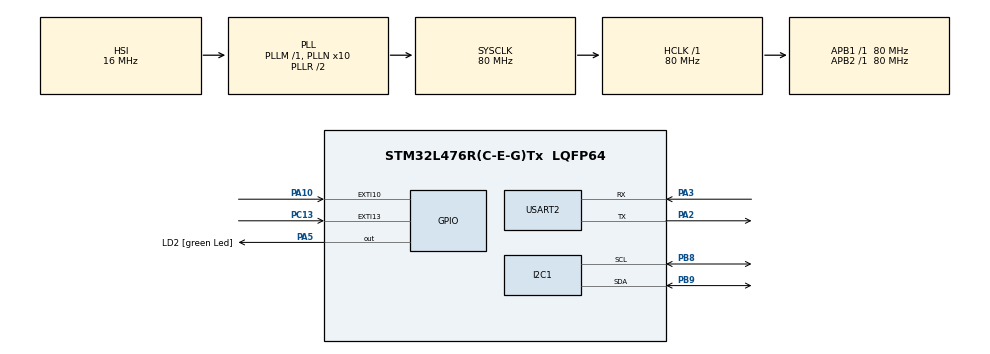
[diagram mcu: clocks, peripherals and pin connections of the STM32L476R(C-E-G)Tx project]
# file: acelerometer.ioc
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I2C1.Timing=0x10909CEC
Mcu.Family=STM32L4
Mcu.Name=STM32L476R(C-E-G)Tx
Mcu.Package=LQFP64
NVIC.EXTI15_10_IRQn=true\:0\:0\:false\:false\:true\:true\:true\:true
NVIC.PriorityGroup=NVIC_PRIORITYGROUP_4
PA10.Signal=GPXTI10
PA13\ (JTMS-SWDIO).GPIO_Label=TMS
PA13\ (JTMS-SWDIO).Mode=Trace_Asynchronous_SW
PA13\ (JTMS-SWDIO).Signal=SYS_JTMS-SWDIO
PA14\ (JTCK-SWCLK).GPIO_Label=TCK
PA14\ (JTCK-SWCLK).Mode=Trace_Asynchronous_SW
PA14\ (JTCK-SWCLK).Signal=SYS_JTCK-SWCLK
PA2.Mode=Asynchronous
PA2.Signal=USART2_TX
PA3.Mode=Asynchronous
PA3.Signal=USART2_RX
PA5.GPIO_Label=LD2 [green Led]
PA5.GPIO_ModeDefaultOutputPP=GPIO_MODE_OUTPUT_PP
PA5.GPIO_PuPd=GPIO_NOPULL
PA5.GPIO_Speed=GPIO_SPEED_FREQ_LOW
PA5.Signal=GPIO_Output
PB3\ (JTDO-TRACESWO).GPIO_Label=SWO
PB3\ (JTDO-TRACESWO).Mode=Trace_Asynchronous_SW
PB3\ (JTDO-TRACESWO).Signal=SYS_JTDO-SWO
PB8.Mode=I2C
PB8.Signal=I2C1_SCL
PB9.Mode=I2C
PB9.Signal=I2C1_SDA
PC13.Signal=GPXTI13
PC14-OSC32_IN\ (PC14).Signal=RCC_OSC32_IN
PC15-OSC32_OUT\ (PC15).Signal=RCC_OSC32_OUT
PH0-OSC_IN\ (PH0).Mode=HSE-External-Oscillator
PH0-OSC_IN\ (PH0).Signal=RCC_OSC_IN
PH1-OSC_OUT\ (PH1).Mode=HSE-External-Oscillator
PH1-OSC_OUT\ (PH1).Signal=RCC_OSC_OUT
ProjectManager.HeapSize=0x200
ProjectManager.StackSize=0x400
ProjectManager.TargetToolchain=STM32CubeIDE
RCC.ADCFreq_Value=64000000
RCC.AHBFreq_Value=80000000
RCC.APB1Freq_Value=80000000
RCC.APB1TimFreq_Value=80000000
RCC.APB2Freq_Value=80000000
RCC.APB2TimFreq_Value=80000000
RCC.CortexFreq_Value=80000000
RCC.HCLKFreq_Value=80000000
RCC.HSE_VALUE=8000000
RCC.HSI_VALUE=16000000
RCC.LSE_VALUE=32768
RCC.MSI_VALUE=4000000
RCC.PLLN=10
RCC.PLLSourceVirtual=RCC_PLLSOURCE_HSI
RCC.PREFETCH_ENABLE=1
RCC.SYSCLKFreq_VALUE=80000000
RCC.SYSCLKSource=RCC_SYSCLKSOURCE_PLLCLK
RCC.USBFreq_Value=64000000
RCC.VCOOutputFreq_Value=160000000
USART2.VirtualMode-Asynchronous=VM_ASYNC
board=NUCLEO-L476RG

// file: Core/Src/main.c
/* USER CODE BEGIN Header */
/**
  ******************************************************************************
  * @file           : main.c
  * @brief          : Main program body
  ******************************************************************************
  * @attention
  *
  * Copyright (c) 2023 STMicroelectronics.
  * All rights reserved.
  *
  * This software is licensed under terms that can be found in the LICENSE file
  * in the root directory of this software component.
  * If no LICENSE file comes with this software, it is provided AS-IS.
  *
  ******************************************************************************
  */
/* USER CODE END Header */
#include "main.h"

/* USER CODE BEGIN Includes */
#include "MMA_8451.h"
#include <string.h>
#include <stdio.h>

/* USER CODE END Includes */

I2C_HandleTypeDef hi2c1;

UART_HandleTypeDef huart2;

void SystemClock_Config(void);
static void MX_GPIO_Init(void);
static void MX_I2C1_Init(void);
static void MX_USART2_UART_Init(void);

/* USER CODE BEGIN 0 */

void HAL_GPIO_EXTI_CALLBACK(uint16_t Gpio_Pin){
	if(Gpio_Pin == GPIO_PIN_13){
	    char msg[24];
	    sprintf(msg, "DATA READY\n\r");
	    HAL_UART_Transmit(&huart2, (uint8_t *)msg, strlen(msg), HAL_MAX_DELAY);
	}

}

/* USER CODE END 0 */

int main(void)
{

  /* MCU Configuration--------------------------------------------------------*/

  /* Reset of all peripherals, Initializes the Flash interface and the Systick. */
  HAL_Init();

  /* Configure the system clock */
  SystemClock_Config();

  /* Initialize all configured peripherals */
  MX_GPIO_Init();
  MX_I2C1_Init();
  MX_USART2_UART_Init();
  /* USER CODE BEGIN 2 */

  //Inicialización del acelerómetro
  init_MMA8451(hi2c1, huart2);
  mma8451_t *data = malloc(sizeof(mma8451_t));
  set_range(MMA8451_RANGE_8_G, hi2c1, huart2);

  /* USER CODE END 2 */

  /* Infinite loop */
  /* USER CODE BEGIN WHILE */
  while (1)
  {
	  read(data, hi2c1, huart2);
	  get_orientation(data, hi2c1, huart2);
	  print_info(*data, huart2);
	  HAL_Delay(2000);
    /* USER CODE END WHILE */

  }
}

void SystemClock_Config(void)
{
  RCC_OscInitTypeDef RCC_OscInitStruct = {0};
  RCC_ClkInitTypeDef RCC_ClkInitStruct = {0};

  /** Configure the main internal regulator output voltage
  */
  if (HAL_PWREx_ControlVoltageScaling(PWR_REGULATOR_VOLTAGE_SCALE1) != HAL_OK)
  {
    Error_Handler();
  }

  /** Initializes the RCC Oscillators according to the specified parameters
  * in the RCC_OscInitTypeDef structure.
  */
  RCC_OscInitStruct.OscillatorType = RCC_OSCILLATORTYPE_HSI;
  RCC_OscInitStruct.HSIState = RCC_HSI_ON;
  RCC_OscInitStruct.HSICalibrationValue = RCC_HSICALIBRATION_DEFAULT;
  RCC_OscInitStruct.PLL.PLLState = RCC_PLL_ON;
  RCC_OscInitStruct.PLL.PLLSource = RCC_PLLSOURCE_HSI;
  RCC_OscInitStruct.PLL.PLLM = 1;
  RCC_OscInitStruct.PLL.PLLN = 10;
  RCC_OscInitStruct.PLL.PLLP = RCC_PLLP_DIV7;
  RCC_OscInitStruct.PLL.PLLQ = RCC_PLLQ_DIV2;
  RCC_OscInitStruct.PLL.PLLR = RCC_PLLR_DIV2;
  if (HAL_RCC_OscConfig(&RCC_OscInitStruct) != HAL_OK)
  {
    Error_Handler();
  }

  /** Initializes the CPU, AHB and APB buses clocks
  */
  RCC_ClkInitStruct.ClockType = RCC_CLOCKTYPE_HCLK|RCC_CLOCKTYPE_SYSCLK
                              |RCC_CLOCKTYPE_PCLK1|RCC_CLOCKTYPE_PCLK2;
  RCC_ClkInitStruct.SYSCLKSource = RCC_SYSCLKSOURCE_PLLCLK;
  RCC_ClkInitStruct.AHBCLKDivider = RCC_SYSCLK_DIV1;
  RCC_ClkInitStruct.APB1CLKDivider = RCC_HCLK_DIV1;
  RCC_ClkInitStruct.APB2CLKDivider = RCC_HCLK_DIV1;

  if (HAL_RCC_ClockConfig(&RCC_ClkInitStruct, FLASH_LATENCY_4) != HAL_OK)
  {
    Error_Handler();
  }
}

static void MX_I2C1_Init(void)
{

  hi2c1.Instance = I2C1;
  hi2c1.Init.Timing = 0x10909CEC;
  hi2c1.Init.OwnAddress1 = 0;
  hi2c1.Init.AddressingMode = I2C_ADDRESSINGMODE_7BIT;
  hi2c1.Init.DualAddressMode = I2C_DUALADDRESS_DISABLE;
  hi2c1.Init.OwnAddress2 = 0;
  hi2c1.Init.OwnAddress2Masks = I2C_OA2_NOMASK;
  hi2c1.Init.GeneralCallMode = I2C_GENERALCALL_DISABLE;
  hi2c1.Init.NoStretchMode = I2C_NOSTRETCH_DISABLE;
  if (HAL_I2C_Init(&hi2c1) != HAL_OK)
  {
    Error_Handler();
  }

  /** Configure Analogue filter
  */
  if (HAL_I2CEx_ConfigAnalogFilter(&hi2c1, I2C_ANALOGFILTER_ENABLE) != HAL_OK)
  {
    Error_Handler();
  }

  /** Configure Digital filter
  */
  if (HAL_I2CEx_ConfigDigitalFilter(&hi2c1, 0) != HAL_OK)
  {
    Error_Handler();
  }

}

static void MX_USART2_UART_Init(void)
{

  huart2.Instance = USART2;
  huart2.Init.BaudRate = 115200;
  huart2.Init.WordLength = UART_WORDLENGTH_8B;
  huart2.Init.StopBits = UART_STOPBITS_1;
  huart2.Init.Parity = UART_PARITY_NONE;
  huart2.Init.Mode = UART_MODE_TX_RX;
  huart2.Init.HwFlowCtl = UART_HWCONTROL_NONE;
  huart2.Init.OverSampling = UART_OVERSAMPLING_16;
  huart2.Init.OneBitSampling = UART_ONE_BIT_SAMPLE_DISABLE;
  huart2.AdvancedInit.AdvFeatureInit = UART_ADVFEATURE_NO_INIT;
  if (HAL_UART_Init(&huart2) != HAL_OK)
  {
    Error_Handler();
  }

}

static void MX_GPIO_Init(void)
{
  GPIO_InitTypeDef GPIO_InitStruct = {0};

  /* GPIO Ports Clock Enable */
  __HAL_RCC_GPIOC_CLK_ENABLE();
  __HAL_RCC_GPIOH_CLK_ENABLE();
  __HAL_RCC_GPIOA_CLK_ENABLE();
  __HAL_RCC_GPIOB_CLK_ENABLE();

  /*Configure GPIO pin Output Level */
  HAL_GPIO_WritePin(LD2_GPIO_Port, LD2_Pin, GPIO_PIN_RESET);

  /*Configure GPIO pin : PC13 */
  GPIO_InitStruct.Pin = GPIO_PIN_13;
  GPIO_InitStruct.Mode = GPIO_MODE_IT_RISING;
  GPIO_InitStruct.Pull = GPIO_NOPULL;
  HAL_GPIO_Init(GPIOC, &GPIO_InitStruct);

  /*Configure GPIO pin : LD2_Pin */
  GPIO_InitStruct.Pin = LD2_Pin;
  GPIO_InitStruct.Mode = GPIO_MODE_OUTPUT_PP;
  GPIO_InitStruct.Pull = GPIO_NOPULL;
  GPIO_InitStruct.Speed = GPIO_SPEED_FREQ_LOW;
  HAL_GPIO_Init(LD2_GPIO_Port, &GPIO_InitStruct);

  /*Configure GPIO pin : PA10 */
  GPIO_InitStruct.Pin = GPIO_PIN_10;
  GPIO_InitStruct.Mode = GPIO_MODE_IT_RISING;
  GPIO_InitStruct.Pull = GPIO_NOPULL;
  HAL_GPIO_Init(GPIOA, &GPIO_InitStruct);

  /* EXTI interrupt init*/
  HAL_NVIC_SetPriority(EXTI15_10_IRQn, 0, 0);
  HAL_NVIC_EnableIRQ(EXTI15_10_IRQn);

}

void Error_Handler(void)
{
  __disable_irq();
  while (1)
  {
  }
}
